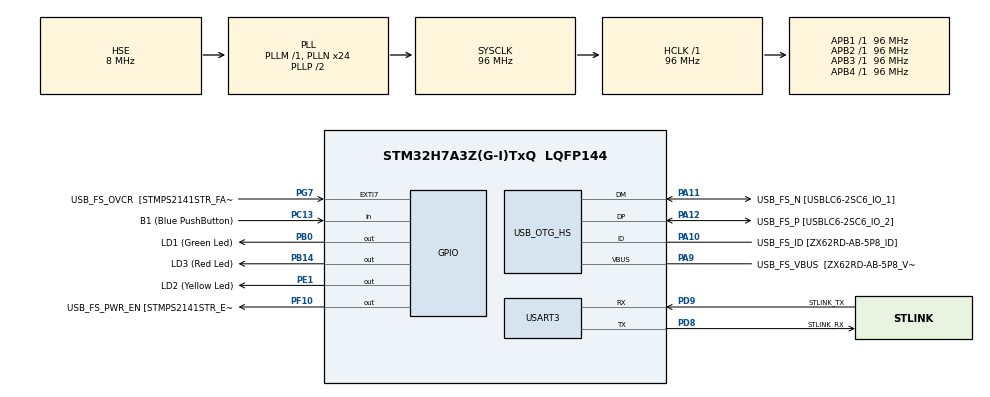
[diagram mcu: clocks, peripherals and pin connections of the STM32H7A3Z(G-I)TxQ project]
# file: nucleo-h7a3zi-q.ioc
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Mcu.Family=STM32H7
Mcu.Name=STM32H7A3Z(G-I)TxQ
Mcu.Package=LQFP144
NVIC.PriorityGroup=NVIC_PRIORITYGROUP_4
NVIC.USART3_IRQn=true\:0\:0\:false\:false\:true\:true\:true\:true
PA10.GPIO_Label=USB_FS_ID [ZX62RD-AB-5P8_ID]
PA10.Mode=OTG/Dual-Role-Device-FS
PA10.Signal=USB_OTG_HS_ID
PA11.GPIO_Label=USB_FS_N [USBLC6-2SC6_IO_1]
PA11.Mode=OTG/Dual-Role-Device-FS
PA11.Signal=USB_OTG_HS_DM
PA12.GPIO_Label=USB_FS_P [USBLC6-2SC6_IO_2]
PA12.Mode=OTG/Dual-Role-Device-FS
PA12.Signal=USB_OTG_HS_DP
PA9.GPIO_Label=USB_FS_VBUS  [ZX62RD-AB-5P8_VBUS]
PA9.Mode=Activate_VBUS_FS
PA9.Signal=USB_OTG_HS_VBUS
PB0.GPIO_Label=LD1 (Green Led)
PB0.Signal=GPIO_Output
PB14.GPIO_Label=LD3 (Red Led)
PB14.Signal=GPIO_Output
PC13.GPIO_Label=B1 (Blue PushButton)
PC13.Signal=GPIO_Input
PC14-OSC32_IN.GPIO_Label=OSC32_IN
PC14-OSC32_IN.Mode=LSE-External-Oscillator
PC14-OSC32_IN.Signal=RCC_OSC32_IN
PC15-OSC32_OUT.GPIO_Label=OSC32_OUT
PC15-OSC32_OUT.Mode=LSE-External-Oscillator
PC15-OSC32_OUT.Signal=RCC_OSC32_OUT
PD8.GPIO_Label=STLINK_RX
PD8.Mode=Asynchronous
PD8.Signal=USART3_TX
PD9.GPIO_Label=STLINK_TX
PD9.Mode=Asynchronous
PD9.Signal=USART3_RX
PE1.GPIO_Label=LD2 (Yellow Led)
PE1.Signal=GPIO_Output
PF10.GPIO_Label=USB_FS_PWR_EN [STMPS2141STR_EN]
PF10.Signal=GPIO_Output
PG7.GPIO_Label=USB_FS_OVCR  [STMPS2141STR_FAULT]
PG7.Signal=GPXTI7
PH0-OSC_IN.GPIO_Label=PH0-MCU
PH0-OSC_IN.Mode=HSE-External-Clock-Source
PH0-OSC_IN.Signal=RCC_OSC_IN
PH1-OSC_OUT.GPIO_Label=PH1-MCU
PH1-OSC_OUT.Signal=RCC_OSC_OUT
ProjectManager.HeapSize=0x200
ProjectManager.StackSize=0x400
ProjectManager.TargetToolchain=STM32CubeIDE
RCC.ADCFreq_Value=16125000
RCC.APB1Freq_Value=96000000
RCC.APB2Freq_Value=96000000
RCC.APB3Freq_Value=96000000
RCC.APB4Freq_Value=96000000
RCC.CortexFreq_Value=96000000
RCC.DIVM1=1
RCC.DIVM3=1
RCC.DIVN1=24
RCC.DIVN3=24
RCC.DIVQ1=4
RCC.HCLKFreq_Value=96000000
RCC.HSE_VALUE=8000000
RCC.PLLFRACN=0
RCC.PLLSourceVirtual=RCC_PLLSOURCE_HSE
RCC.PWR_Regulator_Voltage_Scale=PWR_REGULATOR_VOLTAGE_SCALE0
RCC.SYSCLKFreq_VALUE=96000000
RCC.SYSCLKSource=RCC_SYSCLKSOURCE_PLLCLK
RCC.SupplySource=PWR_DIRECT_SMPS_SUPPLY
RCC.USBCLockSelection=RCC_USBCLKSOURCE_HSI48
RCC.USBFreq_Value=48000000
USART3.VirtualMode-Asynchronous=VM_ASYNC
board=NUCLEO-H7A3ZI-Q

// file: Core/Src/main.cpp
/* USER CODE BEGIN Header */
/**
  ******************************************************************************
  * @file           : main.c
  * @brief          : Main program body
  ******************************************************************************
  * @attention
  *
  * Copyright (c) 2024 STMicroelectronics.
  * All rights reserved.
  *
  * This software is licensed under terms that can be found in the LICENSE file
  * in the root directory of this software component.
  * If no LICENSE file comes with this software, it is provided AS-IS.
  *
  ******************************************************************************
  */
/* USER CODE END Header */
#include "main.h"

/* USER CODE BEGIN Includes */
#include "uart_messages.h"
#include "UartReadBuffer.h"
#include "UartWriteBuffer.h"
#include "Errors.h"
/* USER CODE END Includes */

UART_HandleTypeDef huart3;

/* USER CODE BEGIN PV */
UartReadBuffer read_buffer;
UartWriteBuffer write_buffer;
HAL_StatusTypeDef receive_status;
Command received_command;
Reply outgoing_reply;
/* USER CODE END PV */

void SystemClock_Config(void);
static void MX_GPIO_Init(void);
static void MX_USART3_UART_Init(void);
static void MX_USB_OTG_HS_USB_Init(void);
/* USER CODE BEGIN PFP */

void process_command(const Command& command, Reply& reply);

/* USER CODE END PFP */

int main(void)
{

  /* MCU Configuration--------------------------------------------------------*/

  /* Reset of all peripherals, Initializes the Flash interface and the Systick. */
  HAL_Init();

  /* Configure the system clock */
  SystemClock_Config();

  /* Initialize all configured peripherals */
  MX_GPIO_Init();
  MX_USART3_UART_Init();
  MX_USB_OTG_HS_USB_Init();

  /* Infinite loop */
  while (1)
  {

	    // Read the first byte from uart. The first byte indicates how many bytes will follow.
	    uint8_t n_bytes = 0;
	    receive_status = HAL_UART_Receive(&huart3, &n_bytes, 1, 100);
	    if(HAL_OK == receive_status)
	    {
	      // Read the actual data to be deserialized.
	      uint8_t byte;
	      for(uint8_t i = 0; (i < n_bytes) && (HAL_OK == receive_status); ++i)
	      {
	        receive_status = HAL_UART_Receive(&huart3, &byte, 1, 100);
	        read_buffer.push(byte);
	      }

	      if(HAL_OK == receive_status)
	      {
	        // Deserialize the data received.
	        auto deserialize_status = received_command.deserialize(read_buffer);
	        if(::EmbeddedProto::Error::NO_ERRORS == deserialize_status) {
	          // Process the command.
	          process_command(received_command, outgoing_reply);
	          // Serialize the data.
	          auto serialization_status = outgoing_reply.serialize(write_buffer);
	          if(::EmbeddedProto::Error::NO_ERRORS == serialization_status)
	          {
	            // first transmit the number of bytes in the message.
	            n_bytes = write_buffer.get_size();
	            HAL_UART_Transmit(&huart3, &n_bytes, 1, 50);
	            // Now transmit the actual data.
	            HAL_UART_Transmit(&huart3, write_buffer.get_data(), write_buffer.get_size(), 50);
	          }
	        }
	        // Clear the buffers after we are done.
	        read_buffer.clear();
	        write_buffer.clear();

	      }
	    }

	    /* USER CODE BEGIN 3 */
  }
}

void SystemClock_Config(void)
{
  RCC_OscInitTypeDef RCC_OscInitStruct = {0};
  RCC_ClkInitTypeDef RCC_ClkInitStruct = {0};

  /*AXI clock gating */
  RCC->CKGAENR = 0xFFFFFFFF;

  /** Supply configuration update enable
  */
  HAL_PWREx_ConfigSupply(PWR_DIRECT_SMPS_SUPPLY);

  /** Configure the main internal regulator output voltage
  */
  __HAL_PWR_VOLTAGESCALING_CONFIG(PWR_REGULATOR_VOLTAGE_SCALE0);

  while(!__HAL_PWR_GET_FLAG(PWR_FLAG_VOSRDY)) {}

  /** Initializes the RCC Oscillators according to the specified parameters
  * in the RCC_OscInitTypeDef structure.
  */
  RCC_OscInitStruct.OscillatorType = RCC_OSCILLATORTYPE_HSI48|RCC_OSCILLATORTYPE_HSE;
  RCC_OscInitStruct.HSEState = RCC_HSE_BYPASS;
  RCC_OscInitStruct.HSI48State = RCC_HSI48_ON;
  RCC_OscInitStruct.PLL.PLLState = RCC_PLL_ON;
  RCC_OscInitStruct.PLL.PLLSource = RCC_PLLSOURCE_HSE;
  RCC_OscInitStruct.PLL.PLLM = 1;
  RCC_OscInitStruct.PLL.PLLN = 24;
  RCC_OscInitStruct.PLL.PLLP = 2;
  RCC_OscInitStruct.PLL.PLLQ = 4;
  RCC_OscInitStruct.PLL.PLLR = 2;
  RCC_OscInitStruct.PLL.PLLRGE = RCC_PLL1VCIRANGE_3;
  RCC_OscInitStruct.PLL.PLLVCOSEL = RCC_PLL1VCOWIDE;
  RCC_OscInitStruct.PLL.PLLFRACN = 0;
  if (HAL_RCC_OscConfig(&RCC_OscInitStruct) != HAL_OK)
  {
    Error_Handler();
  }

  /** Initializes the CPU, AHB and APB buses clocks
  */
  RCC_ClkInitStruct.ClockType = RCC_CLOCKTYPE_HCLK|RCC_CLOCKTYPE_SYSCLK
                              |RCC_CLOCKTYPE_PCLK1|RCC_CLOCKTYPE_PCLK2
                              |RCC_CLOCKTYPE_D3PCLK1|RCC_CLOCKTYPE_D1PCLK1;
  RCC_ClkInitStruct.SYSCLKSource = RCC_SYSCLKSOURCE_PLLCLK;
  RCC_ClkInitStruct.SYSCLKDivider = RCC_SYSCLK_DIV1;
  RCC_ClkInitStruct.AHBCLKDivider = RCC_HCLK_DIV1;
  RCC_ClkInitStruct.APB3CLKDivider = RCC_APB3_DIV1;
  RCC_ClkInitStruct.APB1CLKDivider = RCC_APB1_DIV1;
  RCC_ClkInitStruct.APB2CLKDivider = RCC_APB2_DIV1;
  RCC_ClkInitStruct.APB4CLKDivider = RCC_APB4_DIV1;

  if (HAL_RCC_ClockConfig(&RCC_ClkInitStruct, FLASH_LATENCY_2) != HAL_OK)
  {
    Error_Handler();
  }
}

static void MX_USART3_UART_Init(void)
{

  huart3.Instance = USART3;
  huart3.Init.BaudRate = 115200;
  huart3.Init.WordLength = UART_WORDLENGTH_8B;
  huart3.Init.StopBits = UART_STOPBITS_1;
  huart3.Init.Parity = UART_PARITY_NONE;
  huart3.Init.Mode = UART_MODE_TX_RX;
  huart3.Init.HwFlowCtl = UART_HWCONTROL_NONE;
  huart3.Init.OverSampling = UART_OVERSAMPLING_16;
  huart3.Init.OneBitSampling = UART_ONE_BIT_SAMPLE_DISABLE;
  huart3.Init.ClockPrescaler = UART_PRESCALER_DIV1;
  huart3.AdvancedInit.AdvFeatureInit = UART_ADVFEATURE_NO_INIT;
  if (HAL_UART_Init(&huart3) != HAL_OK)
  {
    Error_Handler();
  }
  if (HAL_UARTEx_SetTxFifoThreshold(&huart3, UART_TXFIFO_THRESHOLD_1_8) != HAL_OK)
  {
    Error_Handler();
  }
  if (HAL_UARTEx_SetRxFifoThreshold(&huart3, UART_RXFIFO_THRESHOLD_1_8) != HAL_OK)
  {
    Error_Handler();
  }
  if (HAL_UARTEx_DisableFifoMode(&huart3) != HAL_OK)
  {
    Error_Handler();
  }

}

static void MX_USB_OTG_HS_USB_Init(void)
{

}

static void MX_GPIO_Init(void)
{
  GPIO_InitTypeDef GPIO_InitStruct = {0};

  /* GPIO Ports Clock Enable */
  __HAL_RCC_GPIOC_CLK_ENABLE();
  __HAL_RCC_GPIOF_CLK_ENABLE();
  __HAL_RCC_GPIOH_CLK_ENABLE();
  __HAL_RCC_GPIOB_CLK_ENABLE();
  __HAL_RCC_GPIOD_CLK_ENABLE();
  __HAL_RCC_GPIOG_CLK_ENABLE();
  __HAL_RCC_GPIOA_CLK_ENABLE();
  __HAL_RCC_GPIOE_CLK_ENABLE();

  /*Configure GPIO pin Output Level */
  HAL_GPIO_WritePin(USB_FS_PWR_EN_GPIO_Port, USB_FS_PWR_EN_Pin, GPIO_PIN_RESET);

  /*Configure GPIO pin Output Level */
  HAL_GPIO_WritePin(GPIOB, LD1_Pin|LD3_Pin, GPIO_PIN_RESET);

  /*Configure GPIO pin Output Level */
  HAL_GPIO_WritePin(LD2_GPIO_Port, LD2_Pin, GPIO_PIN_RESET);

  /*Configure GPIO pin : B1_Pin */
  GPIO_InitStruct.Pin = B1_Pin;
  GPIO_InitStruct.Mode = GPIO_MODE_INPUT;
  GPIO_InitStruct.Pull = GPIO_NOPULL;
  HAL_GPIO_Init(B1_GPIO_Port, &GPIO_InitStruct);

  /*Configure GPIO pin : USB_FS_PWR_EN_Pin */
  GPIO_InitStruct.Pin = USB_FS_PWR_EN_Pin;
  GPIO_InitStruct.Mode = GPIO_MODE_OUTPUT_PP;
  GPIO_InitStruct.Pull = GPIO_NOPULL;
  GPIO_InitStruct.Speed = GPIO_SPEED_FREQ_LOW;
  HAL_GPIO_Init(USB_FS_PWR_EN_GPIO_Port, &GPIO_InitStruct);

  /*Configure GPIO pins : LD1_Pin LD3_Pin */
  GPIO_InitStruct.Pin = LD1_Pin|LD3_Pin;
  GPIO_InitStruct.Mode = GPIO_MODE_OUTPUT_PP;
  GPIO_InitStruct.Pull = GPIO_NOPULL;
  GPIO_InitStruct.Speed = GPIO_SPEED_FREQ_LOW;
  HAL_GPIO_Init(GPIOB, &GPIO_InitStruct);

  /*Configure GPIO pin : USB_FS_OVCR_Pin */
  GPIO_InitStruct.Pin = USB_FS_OVCR_Pin;
  GPIO_InitStruct.Mode = GPIO_MODE_IT_RISING;
  GPIO_InitStruct.Pull = GPIO_NOPULL;
  HAL_GPIO_Init(USB_FS_OVCR_GPIO_Port, &GPIO_InitStruct);

  /*Configure GPIO pin : USB_FS_VBUS_Pin */
  GPIO_InitStruct.Pin = USB_FS_VBUS_Pin;
  GPIO_InitStruct.Mode = GPIO_MODE_INPUT;
  GPIO_InitStruct.Pull = GPIO_NOPULL;
  HAL_GPIO_Init(USB_FS_VBUS_GPIO_Port, &GPIO_InitStruct);

  /*Configure GPIO pin : USB_FS_ID_Pin */
  GPIO_InitStruct.Pin = USB_FS_ID_Pin;
  GPIO_InitStruct.Mode = GPIO_MODE_AF_PP;
  GPIO_InitStruct.Pull = GPIO_NOPULL;
  GPIO_InitStruct.Speed = GPIO_SPEED_FREQ_LOW;
  GPIO_InitStruct.Alternate = GPIO_AF10_OTG1_HS;
  HAL_GPIO_Init(USB_FS_ID_GPIO_Port, &GPIO_InitStruct);

  /*Configure GPIO pins : USB_FS_N_Pin USB_FS_P_Pin */
  GPIO_InitStruct.Pin = USB_FS_N_Pin|USB_FS_P_Pin;
  GPIO_InitStruct.Mode = GPIO_MODE_AF_PP;
  GPIO_InitStruct.Pull = GPIO_NOPULL;
  GPIO_InitStruct.Speed = GPIO_SPEED_FREQ_LOW;
  HAL_GPIO_Init(GPIOA, &GPIO_InitStruct);

  /*Configure GPIO pin : LD2_Pin */
  GPIO_InitStruct.Pin = LD2_Pin;
  GPIO_InitStruct.Mode = GPIO_MODE_OUTPUT_PP;
  GPIO_InitStruct.Pull = GPIO_NOPULL;
  GPIO_InitStruct.Speed = GPIO_SPEED_FREQ_LOW;
  HAL_GPIO_Init(LD2_GPIO_Port, &GPIO_InitStruct);

}

/* USER CODE BEGIN 4 */

//! The functions takes a command and responds to it.
/*!
 * \param[in] command The received command.
 * \param[out] reply The reply to be send over uart.
 */
void process_command(const Command& command, Reply& reply)
{
  switch(command.get_button())
  {
    case Command::Buttons::Stop:
      // After we are done clear the current state.
      reply.clear();
      break;

    // With the following commands move the grappling hook.

    case Command::Buttons::On:
    {
    	if(HAL_GPIO_ReadPin(LD2_GPIO_Port, LD2_Pin) != 1){
		  HAL_GPIO_WritePin(LD2_GPIO_Port, LD2_Pin, (GPIO_PinState) 1);
		  reply.set_LED_state(1);
    	}
    	break;
    }

    case Command::Buttons::Off:
    {
    	if(HAL_GPIO_ReadPin(LD2_GPIO_Port, LD2_Pin) != 0){
    	  HAL_GPIO_WritePin(LD2_GPIO_Port, LD2_Pin, (GPIO_PinState) 0);
		  reply.set_LED_state(0);
    	}
    	break;
    }

    default:
      // By default send back the current state.
      break;
  }

}

/* USER CODE END 4 */

void Error_Handler(void)
{
  __disable_irq();
  while (1)
  {
  }
}
